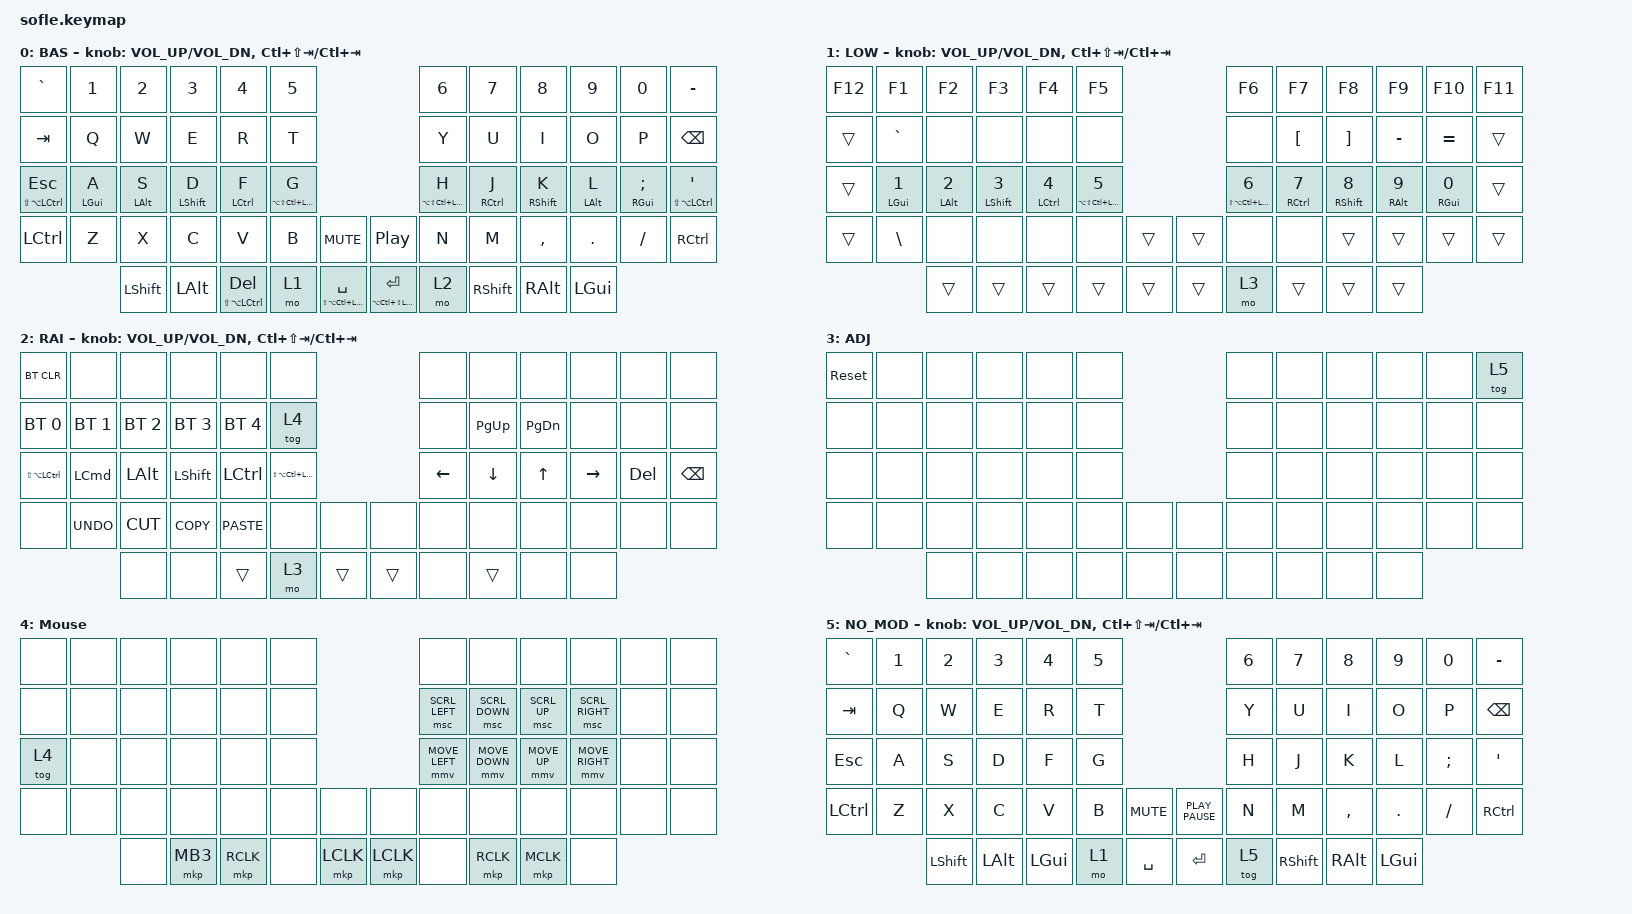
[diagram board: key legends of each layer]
/*
 * Copyright (c) 2020 The ZMK Contributors
 *
 * SPDX-License-Identifier: MIT
 */

#include <behaviors.dtsi>
#include <dt-bindings/zmk/bt.h>
#include <dt-bindings/zmk/keys.h>
#include <dt-bindings/zmk/pointing.h>

&mt { flavor = "tap-preferred"; };

/ {
    behaviors {
        a: a {
            compatible = "zmk,behavior-tap-dance";
            label = "A";
            #binding-cells = <0>;
            bindings = <&mt LCTRL A>, <&kp A>;
        };

        s: s {
            compatible = "zmk,behavior-tap-dance";
            label = "S";
            #binding-cells = <0>;
            bindings = <&mt LEFT_ALT S>, <&kp S>;
        };

        d: d {
            compatible = "zmk,behavior-tap-dance";
            label = "D";
            #binding-cells = <0>;
            bindings = <&mt LEFT_SHIFT D>, <&kp D>;
        };

        f: f {
            compatible = "zmk,behavior-tap-dance";
            label = "F";
            #binding-cells = <0>;
            bindings = <&mt LEFT_GUI F>, <&kp F>;
        };

        semi: semi {
            compatible = "zmk,behavior-tap-dance";
            label = "SEMI";
            #binding-cells = <0>;
            bindings = <&mt RCTRL SEMI>, <&kp SEMI>;
        };

        l: l {
            compatible = "zmk,behavior-tap-dance";
            label = "L";
            #binding-cells = <0>;
            bindings = <&mt LEFT_ALT L>, <&kp L>;
        };

        k: k {
            compatible = "zmk,behavior-tap-dance";
            label = "K";
            #binding-cells = <0>;
            bindings = <&mt RIGHT_SHIFT K>, <&kp K>;
        };

        j: j {
            compatible = "zmk,behavior-tap-dance";
            label = "J";
            #binding-cells = <0>;
            bindings = <&mt RIGHT_GUI J>, <&kp J>;
        };
    };

    keymap {
        compatible = "zmk,keymap";

        default_layer {
            display-name = "BAS";

            // ------------------------------------------------------------------------------------------------------------
            // |  `    |  1  |  2  |  3   |  4   |  5   |                   |  6   |  7    |  8    |  9   |   0   |       |
            // |  ESC  |  Q  |  W  |  E   |  R   |  T   |                   |  Y   |  U    |  I    |  O   |   P   | BKSPC |
            // |  TAB  |  A  |  S  |  D   |  F   |  G   |                   |  H   |  J    |  K    |  L   |   ;   |   '   |
            // | SHIFT |  Z  |  X  |  C   |  V   |  B   |  MUTE  |  |       |  N   |  M    |  ,    |  .   |   /   | SHIFT |
            //               | GUI | ALT  | CTRL | LOWER|  ENTER |  | SPACE | RAISE| CTRL  | ALT   | GUI  |

            bindings = <
&kp GRAVE              &kp N1          &kp N2          &kp N3        &kp N4                    &kp N5                                                                            &kp N6                  &kp N7           &kp N8        &kp N9        &kp N0                   &kp MINUS
&kp TAB                &kp Q           &kp W           &kp E         &kp R                     &kp T                                                                             &kp Y                   &kp U            &kp I         &kp O         &kp P                    &kp BSPC
&mt LS(LA(LCTRL)) ESC  &mt LEFT_GUI A  &mt LEFT_ALT S  &mt LSHIFT D  &mt LCTRL F               &mt LA(LS(LC(LGUI))) G                                                            &mt LA(LS(LC(LGUI))) H  &mt RCTRL J      &mt RSHIFT K  &mt LALT L    &mt RIGHT_GUI SEMICOLON  &mt LS(LA(LCTRL)) SQT
&kp LCTRL              &kp Z           &kp X           &kp C         &kp V                     &kp B                   &kp C_MUTE                    &kp C_PLAY_PAUSE            &kp N                   &kp M            &kp COMMA     &kp DOT       &kp FSLH                 &kp RCTRL
                                       &kp LSHIFT      &kp LALT      &mt LS(LA(LCTRL)) DELETE  &mo 1                   &mt LS(LA(LC(LGUI))) SPACE    &mt LA(LC(LS(LGUI))) ENTER  &mo 2                   &kp RIGHT_SHIFT  &kp RALT      &kp LEFT_GUI
            >;

            sensor-bindings =
                <&inc_dec_kp C_VOL_UP C_VOL_DN>,
                <&inc_dec_kp LC(LS(TAB)) LC(TAB)>;
        };

        lower_layer {
            display-name = "LOW";

            // ------------------------------------------------------------------------------------------------------------
            // | `     |  F1 |  F2 |  F3  |  F4  |  F5  |                   |  F6  |  F7   |  F8   |  F9  |  F10  |  F11  |
            // | RAISE |   1 |   2 |   3  |   4  |   5  |                   |   6  |   7   |   8   |   9  |    0  |  F12  |
            // |       |  !  |  @  |  #   |  $   |  %   |                   |  ^   |  &    |  *    |  (   |   )   |   |   |
            // |       |  =  |  -  |  +   |  {   |  }   |        |  |       |  [   |  ]    |  ;    |  :   |   \   |       |
            //               |     |      |      |      |        |  |       |      |       |       |      |

            bindings = <
&kp F12  &kp F1           &kp F2           &kp F3         &kp F4        &kp F5                                     &kp F6                   &kp F7        &kp F8         &kp F9            &kp F10      &kp F11
&trans   &kp GRAVE        &none            &none          &none         &none                                      &none                    &kp LBKT      &kp RBKT       &kp MINUS         &kp EQUAL    &trans
&trans   &mt LEFT_GUI N1  &mt LEFT_ALT N2  &mt LSHIFT N3  &mt LCTRL N4  &mt LA(LS(LC(LGUI))) N5                    &mt LS(LA(LC(LGUI))) N6  &mt RCTRL N7  &mt RSHIFT N8  &mt RIGHT_ALT N9  &mt RGUI N0  &trans
&trans   &kp BACKSLASH    &none            &none          &none         &none                    &trans    &trans  &none                    &none         &trans         &trans            &trans       &trans
                          &trans           &trans         &trans        &trans                   &trans    &trans  &mo 3                    &trans        &trans         &trans
            >;

            sensor-bindings =
                <&inc_dec_kp C_VOL_UP C_VOL_DN>,
                <&inc_dec_kp LC(LS(TAB)) LC(TAB)>;
        };

        raise_layer {
            display-name = "RAI";

            // ------------------------------------------------------------------------------------------------------------
            // |BTCLR| BT1  | BT2  |  BT3  |  BT4  |  BT5 |                |      |      |       |      |       |       |
            // |     | INS  | PSCR | GUI   |       |      |                | PGUP |      |       |      |       |       |
            // |     | ALT  | CTRL | SHIFT |       | CAPS |                |  <-  |   v  |   ^   |  ->  |  DEL  | BKSPC |
            // |     | UNDO | CUT  | COPY  | PASTE |      |      |  |      |      |      |       |      |       |       |
            //              |      |       |       |      |      |  |      |      |      |       |      |

            bindings = <
&bt BT_CLR         &none         &none         &none         &none         &none                                   &none     &none      &none      &none      &none    &none
&bt BT_SEL 0       &bt BT_SEL 1  &bt BT_SEL 2  &bt BT_SEL 3  &bt BT_SEL 4  &tog 4                                  &none     &kp PG_UP  &kp PG_DN  &none      &none    &none
&kp LS(LA(LCTRL))  &kp LCMD      &kp LEFT_ALT  &kp LSHFT     &kp LCTRL     &kp LS(LA(LC(LGUI)))                    &kp LEFT  &kp DOWN   &kp UP     &kp RIGHT  &kp DEL  &kp BSPC
&none              &kp K_UNDO    &kp K_CUT     &kp K_COPY    &kp K_PASTE   &none                 &none     &none   &none     &none      &none      &none      &none    &none
                                 &none         &none         &trans        &mo 3                 &trans    &trans  &none     &trans     &none      &none
            >;

            sensor-bindings =
                <&inc_dec_kp C_VOL_UP C_VOL_DN>,
                <&inc_dec_kp LC(LS(TAB)) LC(TAB)>;
        };

        ADJ {
            bindings = <
&sys_reset  &none  &none  &none  &none  &none                  &none  &none  &none  &none  &none  &tog 5
&none       &none  &none  &none  &none  &none                  &none  &none  &none  &none  &none  &none
&none       &none  &none  &none  &none  &none                  &none  &none  &none  &none  &none  &none
&none       &none  &none  &none  &none  &none  &none    &none  &none  &none  &none  &none  &none  &none
                   &none  &none  &none  &none  &none    &none  &none  &none  &none  &none
            >;
        };

        Mouse {
            bindings = <
&none   &none  &none  &none     &none      &none                          &none           &none           &none         &none            &none  &none
&none   &none  &none  &none     &none      &none                          &msc SCRL_LEFT  &msc SCRL_DOWN  &msc SCRL_UP  &msc SCRL_RIGHT  &none  &none
&tog 4  &none  &none  &none     &none      &none                          &mmv MOVE_LEFT  &mmv MOVE_DOWN  &mmv MOVE_UP  &mmv MOVE_RIGHT  &none  &none
&none   &none  &none  &none     &none      &none  &none        &none      &none           &none           &none         &none            &none  &none
               &none  &mkp MB3  &mkp RCLK  &none  &mkp LCLK    &mkp LCLK  &none           &mkp RCLK       &mkp MCLK     &none
            >;
        };

        NO_MOD {
            display-name = "NO_MOD";
            bindings = <
&kp GRAVE  &kp N1  &kp N2      &kp N3    &kp N4    &kp N5                                  &kp N6  &kp N7           &kp N8     &kp N9        &kp N0    &kp MINUS
&kp TAB    &kp Q   &kp W       &kp E     &kp R     &kp T                                   &kp Y   &kp U            &kp I      &kp O         &kp P     &kp BSPC
&kp ESC    &kp A   &kp S       &kp D     &kp F     &kp G                                   &kp H   &kp J            &kp K      &kp L         &kp SEMI  &kp SQT
&kp LCTRL  &kp Z   &kp X       &kp C     &kp V     &kp B   &kp C_MUTE    &kp K_PLAY_PAUSE  &kp N   &kp M            &kp COMMA  &kp DOT       &kp FSLH  &kp RCTRL
                   &kp LSHIFT  &kp LALT  &kp LGUI  &mo 1   &kp SPACE     &kp RETURN        &tog 5  &kp RIGHT_SHIFT  &kp RALT   &kp LEFT_GUI
            >;

            sensor-bindings =
                <&inc_dec_kp C_VOL_UP C_VOL_DN>,
                <&inc_dec_kp LC(LS(TAB)) LC(TAB)>;
        };
    };
};
